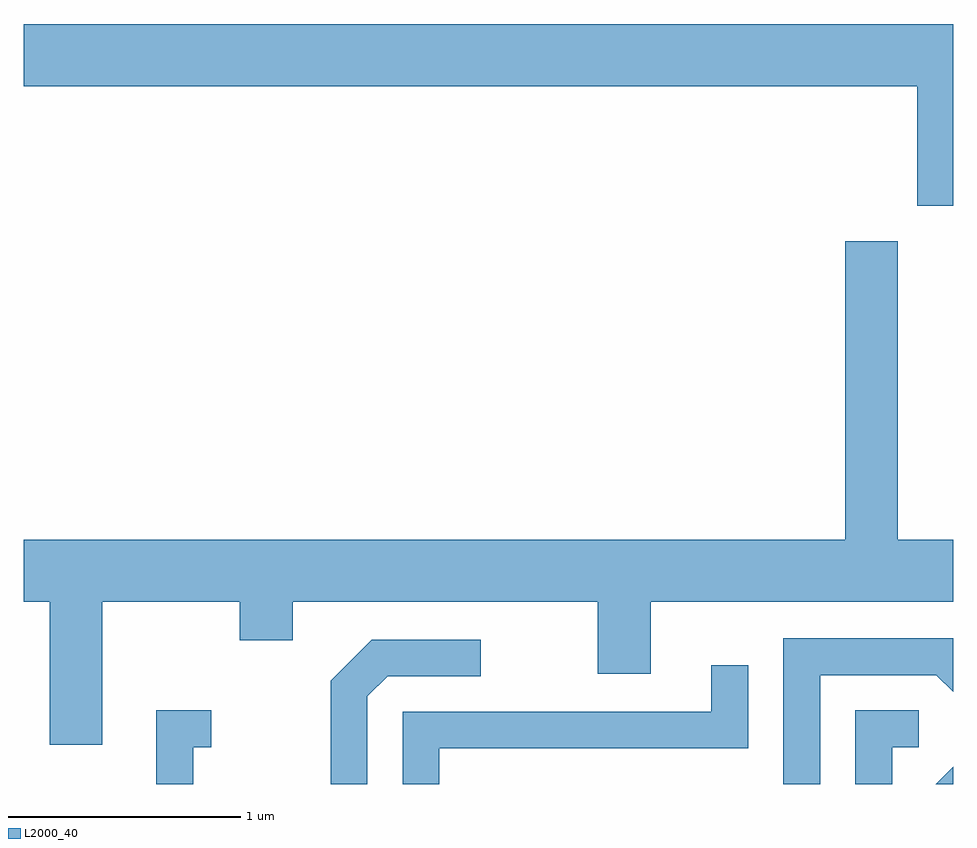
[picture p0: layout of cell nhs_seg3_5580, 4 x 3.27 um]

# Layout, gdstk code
import gdstk
lib = gdstk.Library(unit=1e-6, precision=1e-09)
def P(c, l, *ps):  # polygons
    for p in ps: c.add(gdstk.Polygon(p, *l))
L2000_40 = (2000, 40)

nhs_seg3_5580 = lib.new_cell('nhs_seg3_5580')
P(nhs_seg3_5580, L2000_40, [(353.611,1135.164),(349.611,1135.164),(349.611,1134.896),(353.456,1134.896),(353.456,1134.381),(353.611,1134.381)],
  [(349.949,1132.676),(350.541,1132.676),(350.541,1132.511),(350.769,1132.511),(350.769,1132.676),(352.081,1132.676),(352.081,1132.366),(352.309,1132.366),(352.309,1132.676),(353.611,1132.676),(353.611,1132.944),(353.374,1132.944),(353.374,1134.229),(353.146,1134.229),(353.146,1132.944),(349.611,1132.944),(349.611,1132.676),(349.721,1132.676),(349.721,1132.061),(349.949,1132.061)],
  [(353.039,1132.361),(353.539,1132.361),(353.611,1132.289),(353.611,1132.519),(352.881,1132.519),(352.881,1131.892),(353.039,1131.892)],
  [(351.089,1132.269),(351.177,1132.356),(351.578,1132.356),(351.578,1132.514),(351.109,1132.514),(350.931,1132.337),(350.931,1131.892),(351.089,1131.892)],
  [(351.399,1132.046),(352.729,1132.046),(352.729,1132.403),(352.571,1132.403),(352.571,1132.204),(351.241,1132.204),(351.241,1131.892),(351.399,1131.892)],
  [(353.349,1132.051),(353.463,1132.051),(353.463,1132.209),(353.191,1132.209),(353.191,1131.892),(353.349,1131.892)],
  [(350.339,1132.051),(350.418,1132.051),(350.418,1132.209),(350.181,1132.209),(350.181,1131.892),(350.339,1131.892)],
  [(353.611,1131.966),(353.536,1131.892),(353.611,1131.892)])

lib.write_gds('nhs_seg3_5580.gds')
